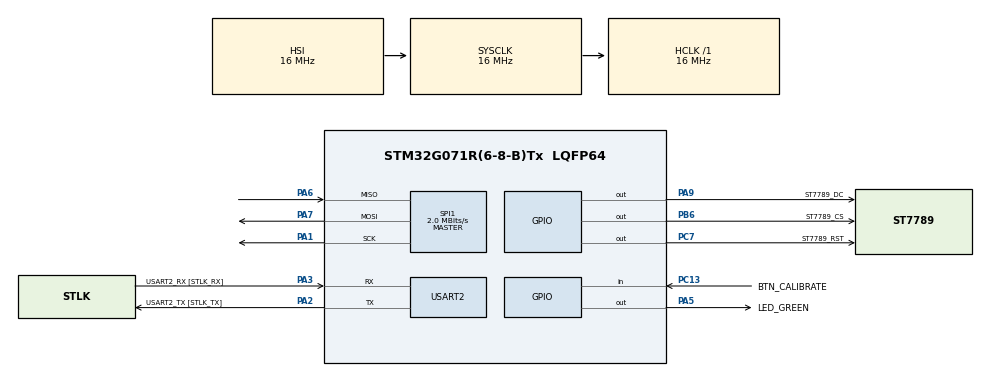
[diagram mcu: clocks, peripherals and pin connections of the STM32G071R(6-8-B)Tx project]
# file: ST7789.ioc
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Mcu.Family=STM32G0
Mcu.Name=STM32G071R(6-8-B)Tx
Mcu.Package=LQFP64
PA1.GPIO_Speed=GPIO_SPEED_FREQ_HIGH
PA1.Mode=Full_Duplex_Master
PA1.Signal=SPI1_SCK
PA13.GPIO_Label=TMS
PA13.Mode=Serial_Wire
PA13.Signal=SYS_SWDIO
PA14-BOOT0.GPIO_Label=TCK
PA14-BOOT0.Mode=Serial_Wire
PA14-BOOT0.Signal=SYS_SWCLK
PA2.GPIO_Label=USART2_TX [STLK_TX]
PA2.GPIO_PuPd=GPIO_PULLUP
PA2.Mode=Asynchronous
PA2.Signal=USART2_TX
PA3.GPIO_Label=USART2_RX [STLK_RX]
PA3.GPIO_PuPd=GPIO_PULLUP
PA3.Mode=Asynchronous
PA3.Signal=USART2_RX
PA5.GPIO_Label=LED_GREEN
PA5.GPIO_Speed=GPIO_SPEED_FREQ_HIGH
PA5.Signal=GPIO_Output
PA6.Mode=Full_Duplex_Master
PA6.Signal=SPI1_MISO
PA7.GPIO_Speed=GPIO_SPEED_FREQ_HIGH
PA7.Mode=Full_Duplex_Master
PA7.Signal=SPI1_MOSI
PA9.GPIO_Label=ST7789_DC
PA9.GPIO_Speed=GPIO_SPEED_FREQ_HIGH
PA9.Signal=GPIO_Output
PB6.GPIO_Label=ST7789_CS
PB6.Signal=GPIO_Output
PC13.GPIO_Label=BTN_CALIBRATE
PC13.GPIO_PuPd=GPIO_PULLUP
PC13.Signal=GPIO_Input
PC14-OSC32_IN\ (PC14).Mode=LSE-External-Oscillator
PC14-OSC32_IN\ (PC14).Signal=RCC_OSC32_IN
PC15-OSC32_OUT\ (PC15).Mode=LSE-External-Oscillator
PC15-OSC32_OUT\ (PC15).Signal=RCC_OSC32_OUT
PC7.GPIO_Label=ST7789_RST
PC7.Signal=GPIO_Output
PF0-OSC_IN\ (PF0).GPIO_Label=MCO
PF0-OSC_IN\ (PF0).Mode=HSE-External-Clock-Source
PF0-OSC_IN\ (PF0).Signal=RCC_OSC_IN
ProjectManager.HeapSize=0x200
ProjectManager.StackSize=0x400
ProjectManager.TargetToolchain=Makefile
RCC.AHBFreq_Value=16000000
RCC.APB1CLKDivider=RCC_HCLK_DIV2
RCC.CortexFreq_Value=16000000
RCC.EXTERNAL_CLOCK_VALUE=12288000
RCC.HCLKFreq_Value=16000000
RCC.HSE_VALUE=8000000
RCC.HSI_VALUE=16000000
RCC.SYSCLKFreq_VALUE=16000000
RCC.VCOOutputFreq_Value=128000000
SPI1.BaudRatePrescaler=SPI_BAUDRATEPRESCALER_4
SPI1.CLKPhase=SPI_PHASE_2EDGE
SPI1.CLKPolarity=SPI_POLARITY_HIGH
SPI1.CalculateBaudRate=2.0 MBits/s
SPI1.DataSize=SPI_DATASIZE_8BIT
SPI1.Direction=SPI_DIRECTION_2LINES
SPI1.Mode=SPI_MODE_MASTER
SPI1.VirtualType=VM_MASTER
USART2.VirtualMode-Asynchronous=VM_ASYNC
board=NUCLEO-G071RB

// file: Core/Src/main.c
/* USER CODE BEGIN Header */
/**
  ******************************************************************************
  * @file           : main.c
  * @brief          : Main program body
  ******************************************************************************
  * @attention
  *
  * Copyright (c) 2026 STMicroelectronics.
  * All rights reserved.
  *
  * This software is licensed under terms that can be found in the LICENSE file
  * in the root directory of this software component.
  * If no LICENSE file comes with this software, it is provided AS-IS.
  *
  ******************************************************************************
  */
/* USER CODE END Header */

/*
 * ============================================================
 * [LCD - DO NOT MODIFY]: This file is owned by the LCD Engineer.
 * Other team members must NOT edit this file.
 * ============================================================
 *
 * FILE: main.c
 * OWNER: LCD Engineer
 *
 * PURPOSE:
 *   Top-level entry point for the wearable step tracker firmware.
 *   Initialises all hardware peripherals, then runs the three
 *   startup stages in sequence before entering the infinite
 *   tracking loop.
 *
 * SYSTEM FLOW (power-on to running):
 *   1. HAL_Init()              — reset peripherals, configure Systick
 *   2. SystemClock_Config()    — set MCU clock to 16 MHz HSI
 *   3. MX_GPIO_Init()          — configure all GPIO pins
 *   4. MX_USART2_UART_Init()   — configure UART for debug output
 *   5. MX_SPI1_Init()          — configure SPI1 for the LCD
 *   6. ST7789_Init()           — bring up the 240x240 LCD display
 *   7. Stage_Calibration_Run() — Stage 1: 6-axis accelerometer calibration
 *   8. Stage_SelfTest_Run()    — Stage 2: ADXL335 self-test validation
 *   9. Stage_Tracker_Run()     — Stage 3: infinite step-tracking loop
 *
 * NOTE: Stage_Tracker_Run() never returns.  All code after it
 *       (Display_Init, status message tests, while(1)) is dead
 *       code that will never execute in normal operation.
 *
 * HOW OTHER ENGINEERS INTERACT WITH THIS FILE:
 *   - Do NOT modify this file.
 *   - If you need to run your own initialisation before the
 *     stages start, coordinate with the LCD Engineer.
 *   - Integrate your subsystem logic inside your own .c file
 *     by implementing the hooks described in each stage's .h file.
 * ============================================================
 */

#include "main.h"
#include "spi.h"
#include "usart.h"
#include "gpio.h"

/* USER CODE BEGIN Includes */
#include "st7789.h"
#include "display.h"
#include "stage_calibration.h"
#include "stage_selftest.h"
#include "stage_tracker.h"
#include "stage_display_test.h"

/* USER CODE END Includes */

void SystemClock_Config(void);

int main(void)
{

  /* MCU Configuration--------------------------------------------------------*/

  /* Reset of all peripherals, Initializes the Flash interface and the Systick. */
  HAL_Init();  /* Must be the very first call — sets up the HAL tick timer and resets all peripherals */

  /* Configure the system clock */
  SystemClock_Config();  /* Sets HSI oscillator to 16 MHz, no PLL — see SystemClock_Config() below */

  /* Initialize all configured peripherals */
  MX_GPIO_Init();          /* Configure all GPIO pins (button, LED, LCD control pins) per main.h */
  MX_USART2_UART_Init();   /* Configure USART2 on PA2/PA3 for serial debug — not actively used by firmware */
  MX_SPI1_Init();          /* Configure SPI1 — used exclusively to communicate with the ST7789 LCD */

  /* USER CODE BEGIN 2 */

  /* --- LCD Hardware Initialisation --- */
  ST7789_Init();            /* Send full ST7789 init sequence: reset, COLMOD (16-bit), rotation, gamma */

  /* --- Stage 1: Accelerometer Calibration --- */
  /* Blocking call. Guides the user through 6 directional steps (+X, -X, +Y, -Y, +Z, -Z).
   * Each step shows a prompt on the LCD and waits for a button press.
   * [HOOK - Static Calibration Engineer]: Your ADC sampling code runs inside
   *   stage_calibration.c after each button press. See stage_calibration.h for details. */
  Stage_Calibration_Run();

  /* --- Stage 2: ADXL335 Self-Test --- */
  /* Blocking call. Reads baseline and self-test accelerometer voltages, compares deltas
   * against expected values (X:-325mV, Y:+325mV, Z:+550mV ±100mV).
   * If the test fails the device does a full hardware reset (NVIC_SystemReset) and
   * restarts from Stage 1.
   * [HOOK - Self-Test Engineer]: Replace the dummy float values and pass/fail logic
   *   inside stage_selftest.c with real ADC readings. See stage_selftest.h for details. */
  Stage_SelfTest_Run();

  /* --- Display Init: draw static STEPS and PACE labels before the tracker starts --- */
  Display_Init();
  Stage_DisplayTest_Run();  /* Debug: direct badge cycle — remove once RUNNING is confirmed */

  /* --- Stage 3: Step Tracker --- */
  /* Infinite loop — this call NEVER returns.
   * Continuously reads step events, calculates steps-per-minute (SPM),
   * classifies pace (STATIONARY / WALKING / RUNNING), and updates the LCD.
   * [HOOK - Step Tracker Engineer]: Replace the simulation phase block inside
   *   stage_tracker.c with real accelerometer step detection. See stage_tracker.h. */
  Stage_Tracker_Run();

  /* ============================================================
   * DEAD CODE BELOW — Stage_Tracker_Run() never returns.
   * Everything from here to the end of main() is unreachable in
   * normal operation.  It is kept for reference / future use only.
   * ============================================================ */

  /* DEAD CODE: Status message test sequence — used during LCD development to verify
   * that Display_SetStatus() renders and clears correctly.  Unreachable at runtime. */
  Display_SetStatus("Calibrating...");
  HAL_Delay(2000);
  Display_SetStatus("Ready");
  HAL_Delay(1000);
  Display_SetStatus("Resetting...");
  HAL_Delay(1000);
  Display_SetStatus("Error");
  HAL_Delay(1000);
  Display_ClearStatus();
  HAL_Delay(500);

  /* USER CODE END 2 */

  /* DEAD CODE: Infinite loop — unreachable because Stage_Tracker_Run() loops forever above.
   * Kept as a safety catch in case Stage_Tracker_Run() is ever refactored to return. */
  /* Infinite loop */
  while (1)
  {

    /* USER CODE BEGIN 3 */
    /*
     * [HOOK - Step Tracker Engineer]: If Stage_Tracker_Run() is ever refactored
     * to be non-blocking, your periodic step-check and display-update calls
     * would go here instead.
     */
  /* USER CODE END 3 */
 }
}

void SystemClock_Config(void)
{
  RCC_OscInitTypeDef RCC_OscInitStruct = {0};
  RCC_ClkInitTypeDef RCC_ClkInitStruct = {0};

  /** Configure the main internal regulator output voltage
  */
  HAL_PWREx_ControlVoltageScaling(PWR_REGULATOR_VOLTAGE_SCALE1);  /* Range 1 = up to 64 MHz */

  /** Initializes the RCC Oscillators according to the specified parameters
  * in the RCC_OscInitTypeDef structure.
  */
  RCC_OscInitStruct.OscillatorType = RCC_OSCILLATORTYPE_HSI;
  RCC_OscInitStruct.HSIState = RCC_HSI_ON;
  RCC_OscInitStruct.HSIDiv = RCC_HSI_DIV1;
  RCC_OscInitStruct.HSICalibrationValue = RCC_HSICALIBRATION_DEFAULT;
  RCC_OscInitStruct.PLL.PLLState = RCC_PLL_NONE;
  if (HAL_RCC_OscConfig(&RCC_OscInitStruct) != HAL_OK)
  {
    Error_Handler();
  }

  /** Initializes the CPU, AHB and APB buses clocks
  */
  RCC_ClkInitStruct.ClockType = RCC_CLOCKTYPE_HCLK|RCC_CLOCKTYPE_SYSCLK
                              |RCC_CLOCKTYPE_PCLK1;
  RCC_ClkInitStruct.SYSCLKSource = RCC_SYSCLKSOURCE_HSI;
  RCC_ClkInitStruct.AHBCLKDivider = RCC_SYSCLK_DIV1;
  RCC_ClkInitStruct.APB1CLKDivider = RCC_HCLK_DIV2;

  if (HAL_RCC_ClockConfig(&RCC_ClkInitStruct, FLASH_LATENCY_0) != HAL_OK)
  {
    Error_Handler();
  }
}

void Error_Handler(void)
{
  /* USER CODE BEGIN Error_Handler_Debug */
  /* User can add his own implementation to report the HAL error return state */
  __disable_irq();  /* Mask all maskable interrupts — no more Systick, no UART ISR */
  while (1)
  {
    /* Hang here forever so a debugger can catch the call stack */
  }
  /* USER CODE END Error_Handler_Debug */
}
